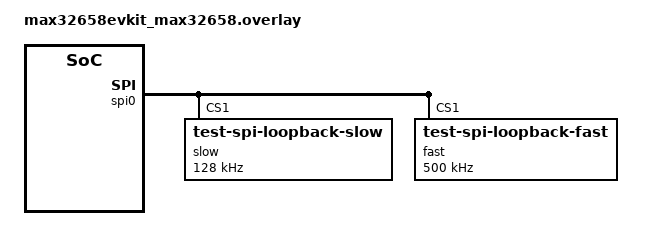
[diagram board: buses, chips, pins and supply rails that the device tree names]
/*
 * Copyright (c) 2026 Analog Devices, Inc.
 *
 * SPDX-License-Identifier: Apache-2.0
 */

&dma1 {
	status = "okay";
};

&spi0 {
	zephyr,pm-device-runtime-auto;
	dmas = <&dma1 1 MAX32_DMA_SLOT_SPI_TX>, <&dma1 2 MAX32_DMA_SLOT_SPI_RX>;
	dma-names = "tx", "rx";

	slow@1 {
		compatible = "test-spi-loopback-slow";
		reg = <1>;
		spi-max-frequency = <128000>;
	};

	fast@1 {
		compatible = "test-spi-loopback-fast";
		reg = <1>;
		spi-max-frequency = <500000>;
	};
};

/*
 * SRAM banks marked with the following property are retained in backup mode
 *
 * SRAM banks are listed in max32657_common.dtsi
 */
&sram0 {
	adi,ram-bank-retained;
};
